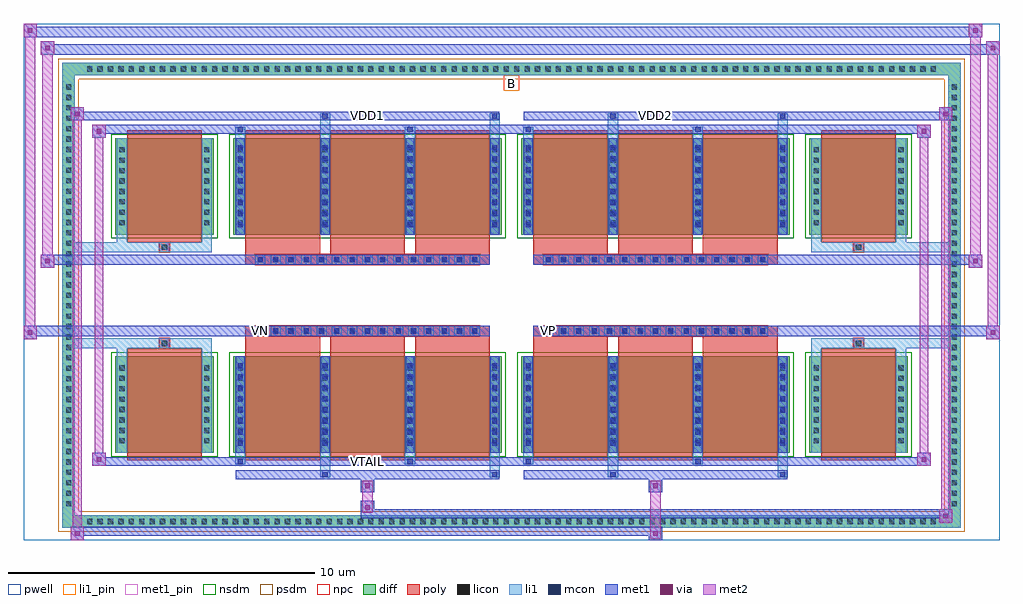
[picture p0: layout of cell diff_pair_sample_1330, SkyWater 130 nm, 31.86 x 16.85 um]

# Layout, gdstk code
import gdstk
lib = gdstk.Library(unit=1e-6, precision=5e-09)
def R(c, l, rs):  # rectangles x0, y0, x1, y1
    for r in rs: c.add(gdstk.rectangle(r[:2], r[2:], *l))
def A(c, l, x, y, w, h, nx, ny, dx, dy):  # array of equal rectangles
    R(c, l, [(x+i*dx, y+j*dy, x+i*dx+w, y+j*dy+h) for i in range(nx) for j in range(ny)])
def P(c, l, *ps):  # polygons
    for p in ps: c.add(gdstk.Polygon(p, *l))
pwell = (64, 44)
diff = (65, 20)
poly = (66, 20)
licon = (66, 44)
li1_pin = (67, 16)
li1 = (67, 20)
mcon = (67, 44)
met1_pin = (68, 16)
met1 = (68, 20)
via = (68, 44)
met2 = (69, 20)
nsdm = (93, 44)
psdm = (94, 20)
npc = (95, 20)

diff_pair_sample_1330 = lib.new_cell('diff_pair_sample_1330')
R(diff_pair_sample_1330, pwell, [(-15.93,-7.99,15.93,8.86), (-13.25,-6.18,-0.01,-0.8), (0.01,-6.18,13.25,-0.8), (-13.25,0.8,-0.01,6.18), (0.01,0.8,13.25,6.18)])
A(diff_pair_sample_1330, diff, -13.975, -7.59, 0.41, 0.41, 82, 2, 0.34, 14.77)
A(diff_pair_sample_1330, diff, -14.66, -7.005, 0.41, 0.41, 1, 41, 0, 0.34)
A(diff_pair_sample_1330, diff, 14.25, -7.005, 0.41, 0.41, 1, 41, 0, 0.34)
R(diff_pair_sample_1330, diff, [(-13.975,-7.59,13.975,-7.18), (-14.66,-7.005,-14.25,7.005), (14.25,-7.005,14.66,7.005), (-12.94,-5.135,-9.72,-1.985), (-9.08,-5.135,-0.32,-1.985), (0.32,-5.135,9.08,-1.985), (9.72,-5.135,12.94,-1.985), (-12.94,1.985,-9.72,5.135), (-9.08,1.985,-0.32,5.135), (0.32,1.985,9.08,5.135), (9.72,1.985,12.94,5.135), (-13.975,7.18,13.975,7.59)])
P(diff_pair_sample_1330, diff, [(14.66,7.59),(-14.66,7.59),(-14.66,-7.18),(-14.25,-7.18),(-14.25,7.18),(14.25,7.18),(14.25,-7.18),(-14.25,-7.18),(-14.66,-7.18),(-14.66,-7.59),(14.66,-7.59)])
A(diff_pair_sample_1330, poly, -8.69, -5.385, 2.44, 3.65, 3, 2, 2.77, 7.12)
A(diff_pair_sample_1330, poly, 0.71, -5.385, 2.44, 3.65, 3, 2, 2.77, 7.12)
A(diff_pair_sample_1330, poly, -8.69, -1.735, 2.44, 0.405, 3, 2, 2.77, 3.065)
A(diff_pair_sample_1330, poly, 0.71, -1.735, 2.44, 0.405, 3, 2, 2.77, 3.065)
A(diff_pair_sample_1330, poly, -8.365, -1.33, 0.33, 0.33, 15, 2, 0.5, 2.33)
A(diff_pair_sample_1330, poly, 1.035, -1.33, 0.33, 0.33, 15, 2, 0.5, 2.33)
R(diff_pair_sample_1330, poly, [(-12.55,-5.385,-10.11,-1.735), (10.11,-5.385,12.55,-1.735), (-11.495,-1.735,-11.165,-1.405), (-11.495,-1.735,-11.165,-1.405), (11.165,-1.735,11.495,-1.405), (11.165,-1.735,11.495,-1.405), (-8.69,-1.33,-0.71,-1), (0.71,-1.33,8.69,-1), (-8.69,1,-0.71,1.33), (0.71,1,8.69,1.33), (-11.495,1.405,-11.165,1.735), (-11.495,1.405,-11.165,1.735), (11.165,1.405,11.495,1.735), (11.165,1.405,11.495,1.735), (-12.55,1.735,-10.11,5.385), (10.11,1.735,12.55,5.385)])
A(diff_pair_sample_1330, licon, -13.855, -7.47, 0.17, 0.17, 82, 2, 0.34, 14.77)
A(diff_pair_sample_1330, licon, -14.54, -6.885, 0.17, 0.17, 1, 41, 0, 0.34)
A(diff_pair_sample_1330, licon, 14.37, -6.885, 0.17, 0.17, 1, 41, 0, 0.34)
A(diff_pair_sample_1330, licon, -12.8, -4.835, 0.17, 0.17, 1, 8, 0, 0.34)
A(diff_pair_sample_1330, licon, -10.03, -4.835, 0.17, 0.17, 1, 8, 0, 0.34)
A(diff_pair_sample_1330, licon, -8.94, -4.835, 0.17, 0.17, 4, 8, 2.77, 0.34)
A(diff_pair_sample_1330, licon, 0.46, -4.835, 0.17, 0.17, 4, 8, 2.77, 0.34)
A(diff_pair_sample_1330, licon, 9.86, -4.835, 0.17, 0.17, 1, 8, 0, 0.34)
A(diff_pair_sample_1330, licon, 12.63, -4.835, 0.17, 0.17, 1, 8, 0, 0.34)
A(diff_pair_sample_1330, licon, -8.285, -1.25, 0.17, 0.17, 15, 2, 0.5, 2.33)
A(diff_pair_sample_1330, licon, 1.115, -1.25, 0.17, 0.17, 15, 2, 0.5, 2.33)
A(diff_pair_sample_1330, licon, -12.8, 2.285, 0.17, 0.17, 1, 8, 0, 0.34)
A(diff_pair_sample_1330, licon, -10.03, 2.285, 0.17, 0.17, 1, 8, 0, 0.34)
A(diff_pair_sample_1330, licon, -8.94, 2.285, 0.17, 0.17, 4, 8, 2.77, 0.34)
A(diff_pair_sample_1330, licon, 0.46, 2.285, 0.17, 0.17, 4, 8, 2.77, 0.34)
A(diff_pair_sample_1330, licon, 9.86, 2.285, 0.17, 0.17, 1, 8, 0, 0.34)
A(diff_pair_sample_1330, licon, 12.63, 2.285, 0.17, 0.17, 1, 8, 0, 0.34)
R(diff_pair_sample_1330, licon, [(-11.415,-1.655,-11.245,-1.485), (11.245,-1.655,11.415,-1.485), (-11.415,1.485,-11.245,1.655), (11.245,1.485,11.415,1.655)])
R(diff_pair_sample_1330, li1_pin, [(-0.25,6.68,0.25,7.18)])
A(diff_pair_sample_1330, li1, -13.935, -7.55, 0.33, 0.33, 82, 2, 0.34, 14.77)
A(diff_pair_sample_1330, li1, -14.62, -6.965, 0.33, 0.33, 1, 41, 0, 0.34)
A(diff_pair_sample_1330, li1, 14.29, -6.965, 0.33, 0.33, 1, 41, 0, 0.34)
A(diff_pair_sample_1330, li1, -9.02, -5.135, 0.33, 3.15, 4, 2, 2.77, 7.12)
A(diff_pair_sample_1330, li1, 0.38, -5.135, 0.33, 3.15, 4, 2, 2.77, 7.12)
A(diff_pair_sample_1330, li1, -12.88, -4.915, 0.33, 0.33, 1, 8, 0, 0.34)
A(diff_pair_sample_1330, li1, -10.11, -4.915, 0.33, 0.33, 1, 8, 0, 0.34)
A(diff_pair_sample_1330, li1, -9.02, -4.915, 0.33, 0.33, 4, 8, 2.77, 0.34)
A(diff_pair_sample_1330, li1, 0.38, -4.915, 0.33, 0.33, 4, 8, 2.77, 0.34)
A(diff_pair_sample_1330, li1, 9.78, -4.915, 0.33, 0.33, 1, 8, 0, 0.34)
A(diff_pair_sample_1330, li1, 12.55, -4.915, 0.33, 0.33, 1, 8, 0, 0.34)
A(diff_pair_sample_1330, li1, -8.94, -4.905, 0.17, 0.17, 4, 8, 2.77, 0.36)
A(diff_pair_sample_1330, li1, -8.94, -4.905, 0.17, 2.69, 4, 2, 2.77, 7.12)
A(diff_pair_sample_1330, li1, 0.46, -4.905, 0.17, 0.17, 4, 8, 2.77, 0.36)
A(diff_pair_sample_1330, li1, 0.46, -4.905, 0.17, 2.69, 4, 2, 2.77, 7.12)
A(diff_pair_sample_1330, li1, -8.365, -1.33, 0.33, 0.33, 15, 2, 0.5, 2.33)
A(diff_pair_sample_1330, li1, 1.035, -1.33, 0.33, 0.33, 15, 2, 0.5, 2.33)
A(diff_pair_sample_1330, li1, -12.88, 2.205, 0.33, 0.33, 1, 8, 0, 0.34)
A(diff_pair_sample_1330, li1, -10.11, 2.205, 0.33, 0.33, 1, 8, 0, 0.34)
A(diff_pair_sample_1330, li1, -9.02, 2.205, 0.33, 0.33, 4, 8, 2.77, 0.34)
A(diff_pair_sample_1330, li1, 0.38, 2.205, 0.33, 0.33, 4, 8, 2.77, 0.34)
A(diff_pair_sample_1330, li1, 9.78, 2.205, 0.33, 0.33, 1, 8, 0, 0.34)
A(diff_pair_sample_1330, li1, 12.55, 2.205, 0.33, 0.33, 1, 8, 0, 0.34)
A(diff_pair_sample_1330, li1, -8.94, 2.215, 0.17, 0.17, 4, 8, 2.77, 0.36)
A(diff_pair_sample_1330, li1, 0.46, 2.215, 0.17, 0.17, 4, 8, 2.77, 0.36)
R(diff_pair_sample_1330, li1, [(-14.66,-7.59,-14.25,-7.18), (-14.66,-7.59,-14.25,-7.18), (-14.25,-7.59,14.25,-7.18), (14.25,-7.59,14.66,-7.18), (14.25,-7.59,14.66,-7.18), (-14.66,-7.18,-14.25,7.18), (14.25,-7.18,14.66,7.18), (-6.25,-5.94,-5.92,-5.135), (-6.17,-5.94,-6,-5.77), (-0.71,-5.94,-0.38,-5.135), (-0.63,-5.94,-0.46,-5.77), (3.15,-5.94,3.48,-5.135), (3.23,-5.94,3.4,-5.77), (8.69,-5.94,9.02,-5.135), (8.77,-5.94,8.94,-5.77), (-9.02,-5.51,-8.69,-5.135), (-8.94,-5.51,-8.77,-5.34), (-3.48,-5.51,-3.15,-5.135), (-3.4,-5.51,-3.23,-5.34), (0.38,-5.51,0.71,-5.135), (0.46,-5.51,0.63,-5.34), (5.92,-5.51,6.25,-5.135), (6,-5.51,6.17,-5.34), (-12.88,-5.135,-12.55,-1.985), (-10.11,-5.135,-9.78,-1.985), (9.78,-5.135,10.11,-1.985), (12.55,-5.135,12.88,-1.985), (-12.88,-1.985,-12.55,-1.405), (-10.11,-1.985,-9.78,-1.405), (9.78,-1.985,10.11,-1.405), (12.55,-1.985,12.88,-1.405), (-14.66,-1.735,-11.495,-1.405), (-12.88,-1.735,-11.495,-1.405), (-11.495,-1.735,-11.165,-1.405), (-11.165,-1.735,-9.78,-1.405), (9.78,-1.735,11.165,-1.405), (11.165,-1.735,11.495,-1.405), (11.165,-1.735,14.66,-1.405), (11.495,-1.735,12.88,-1.405), (-14.66,1.405,-11.495,1.735), (-12.88,1.405,-11.495,1.735), (-12.88,1.405,-12.55,1.985), (-11.495,1.405,-11.165,1.735), (-11.165,1.405,-9.78,1.735), (-10.11,1.405,-9.78,1.985), (9.78,1.405,11.165,1.735), (9.78,1.405,10.11,1.985), (11.165,1.405,11.495,1.735), (11.165,1.405,14.66,1.735), (11.495,1.405,12.88,1.735), (12.55,1.405,12.88,1.985), (-12.88,1.985,-12.55,5.135), (-10.11,1.985,-9.78,5.135), (9.78,1.985,10.11,5.135), (12.55,1.985,12.88,5.135), (-9.02,5.135,-8.69,5.51), (-6.25,5.135,-5.92,5.94), (-3.48,5.135,-3.15,5.51), (-0.71,5.135,-0.38,5.94), (0.38,5.135,0.71,5.51), (3.15,5.135,3.48,5.94), (5.92,5.135,6.25,5.51), (8.69,5.135,9.02,5.94), (-8.94,5.34,-8.77,5.51), (-3.4,5.34,-3.23,5.51), (0.46,5.34,0.63,5.51), (6,5.34,6.17,5.51), (-6.17,5.77,-6,5.94), (-0.63,5.77,-0.46,5.94), (3.23,5.77,3.4,5.94), (8.77,5.77,8.94,5.94), (-14.66,7.18,-14.25,7.59), (-14.66,7.18,-14.25,7.59), (-14.25,7.18,14.25,7.59), (14.25,7.18,14.66,7.59), (14.25,7.18,14.66,7.59)])
A(diff_pair_sample_1330, mcon, -8.94, -4.905, 0.17, 0.17, 4, 8, 2.77, 0.36)
A(diff_pair_sample_1330, mcon, 0.46, -4.905, 0.17, 0.17, 4, 8, 2.77, 0.36)
A(diff_pair_sample_1330, mcon, -8.285, -1.25, 0.17, 0.17, 15, 2, 0.5, 2.33)
A(diff_pair_sample_1330, mcon, 1.115, -1.25, 0.17, 0.17, 15, 2, 0.5, 2.33)
A(diff_pair_sample_1330, mcon, -8.94, 2.215, 0.17, 0.17, 4, 8, 2.77, 0.36)
A(diff_pair_sample_1330, mcon, 0.46, 2.215, 0.17, 0.17, 4, 8, 2.77, 0.36)
R(diff_pair_sample_1330, mcon, [(-6.17,-5.94,-6,-5.77), (-0.63,-5.94,-0.46,-5.77), (3.23,-5.94,3.4,-5.77), (8.77,-5.94,8.94,-5.77), (-8.94,-5.51,-8.77,-5.34), (-3.4,-5.51,-3.23,-5.34), (0.46,-5.51,0.63,-5.34), (6,-5.51,6.17,-5.34), (-8.94,5.34,-8.77,5.51), (-3.4,5.34,-3.23,5.51), (0.46,5.34,0.63,5.51), (6,5.34,6.17,5.51), (-6.17,5.77,-6,5.94), (-0.63,5.77,-0.46,5.94), (3.23,5.77,3.4,5.94), (8.77,5.77,8.94,5.94)])
R(diff_pair_sample_1330, met1_pin, [(-4.835,-5.55,-4.565,-5.28), (-8.335,-1.29,-8.065,-1.02), (1.065,-1.29,1.335,-1.02), (-4.835,5.73,-4.565,6), (4.565,5.73,4.835,6)])
A(diff_pair_sample_1330, met1, -9, -5.135, 0.29, 3.15, 4, 2, 2.77, 7.12)
A(diff_pair_sample_1330, met1, 0.4, -5.135, 0.29, 3.15, 4, 2, 2.77, 7.12)
A(diff_pair_sample_1330, met1, -9, -4.965, 0.29, 0.29, 4, 8, 2.77, 0.36)
A(diff_pair_sample_1330, met1, 0.4, -4.965, 0.29, 0.29, 4, 8, 2.77, 0.36)
A(diff_pair_sample_1330, met1, -8.345, -1.31, 0.29, 0.29, 15, 2, 0.5, 2.33)
A(diff_pair_sample_1330, met1, 1.055, -1.31, 0.29, 0.29, 15, 2, 0.5, 2.33)
A(diff_pair_sample_1330, met1, -9, 2.155, 0.29, 0.29, 4, 8, 2.77, 0.36)
A(diff_pair_sample_1330, met1, 0.4, 2.155, 0.29, 0.29, 4, 8, 2.77, 0.36)
R(diff_pair_sample_1330, met1, [(-14.39,-7.99,-13.96,-7.56), (4.485,-7.99,4.915,-7.56), (-14.39,-7.85,4.915,-7.56), (13.96,-7.42,14.39,-6.99), (-4.915,-7.28,14.39,-6.99), (-4.915,-7.14,-4.485,-6.71), (-4.915,-6.43,-4.485,-6), (4.485,-6.43,4.915,-6), (-9,-6,-0.4,-5.71), (-6.23,-6,-5.94,-5.71), (-0.69,-6,-0.4,-5.71), (0.4,-6,9,-5.71), (3.17,-6,3.46,-5.71), (8.71,-6,9,-5.71), (-13.68,-5.57,-13.25,-5.14), (-13.68,-5.57,-9,-5.28), (-9,-5.57,-8.71,-5.28), (-9,-5.57,-0.4,-5.28), (-3.46,-5.57,-3.17,-5.28), (-0.4,-5.57,0.4,-5.28), (0.4,-5.57,0.69,-5.28), (0.4,-5.57,9,-5.28), (5.94,-5.57,6.23,-5.28), (9,-5.57,13.68,-5.28), (13.25,-5.57,13.68,-5.14), (-15.93,-1.43,-15.5,-1), (15.5,-1.43,15.93,-1), (-15.93,-1.33,-0.71,-1), (-8.69,-1.33,-0.71,-1), (0.71,-1.33,8.69,-1), (0.71,-1.33,15.93,-1), (-15.36,0.9,-14.93,1.33), (14.93,0.9,15.36,1.33), (-15.36,1,-8.69,1.33), (-8.69,1,-0.71,1.33), (0.71,1,8.69,1.33), (8.69,1,15.36,1.33), (-13.68,5.14,-13.25,5.57), (13.25,5.14,13.68,5.57), (-13.68,5.28,-9,5.57), (-9,5.28,-8.71,5.57), (-9,5.28,-0.4,5.57), (-3.46,5.28,-3.17,5.57), (-0.4,5.28,0.4,5.57), (0.4,5.28,0.69,5.57), (0.4,5.28,9,5.57), (5.94,5.28,6.23,5.57), (9,5.28,13.68,5.57), (-14.39,5.71,-13.96,6.14), (-14.39,5.71,-9,6), (-9,5.71,-0.4,6), (-6.23,5.71,-5.94,6), (-0.69,5.71,-0.4,6), (0.4,5.71,9,6), (3.17,5.71,3.46,6), (8.71,5.71,9,6), (9,5.71,14.39,6), (13.96,5.71,14.39,6.14), (-15.36,7.86,-14.93,8.29), (-15.36,7.86,-13.25,8.19), (-13.25,7.86,13.25,8.19), (13.25,7.86,15.93,8.19), (15.5,7.86,15.93,8.29), (-15.93,8.43,-15.5,8.86), (-15.93,8.43,-13.25,8.76), (-13.25,8.43,13.25,8.76), (13.25,8.43,15.36,8.76), (14.93,8.43,15.36,8.86)])
R(diff_pair_sample_1330, via, [(-14.25,-7.85,-14.1,-7.7), (4.625,-7.85,4.775,-7.7), (14.1,-7.28,14.25,-7.13), (-4.775,-7,-4.625,-6.85), (-4.775,-6.29,-4.625,-6.14), (4.625,-6.29,4.775,-6.14), (-13.54,-5.43,-13.39,-5.28), (13.39,-5.43,13.54,-5.28), (-15.79,-1.29,-15.64,-1.14), (15.64,-1.29,15.79,-1.14), (-15.22,1.04,-15.07,1.19), (15.07,1.04,15.22,1.19), (-13.54,5.28,-13.39,5.43), (13.39,5.28,13.54,5.43), (-14.25,5.85,-14.1,6), (14.1,5.85,14.25,6), (-15.22,8,-15.07,8.15), (15.64,8,15.79,8.15), (-15.79,8.57,-15.64,8.72), (15.07,8.57,15.22,8.72)])
R(diff_pair_sample_1330, met2, [(-14.39,-7.99,-13.96,-7.56), (-14.32,-7.99,-14.03,6.14), (-14.03,-7.99,-13.96,-7.56), (-14.34,-7.94,-14.01,-7.61), (4.535,-7.94,4.865,-7.61), (4.535,-7.61,4.865,-6.38), (13.96,-7.42,14.39,-6.99), (14.03,-7.42,14.32,6.14), (14.32,-7.42,14.39,-6.99), (14.01,-7.37,14.34,-7.04), (-4.865,-7.09,-4.535,-6.76), (-4.865,-6.76,-4.535,-6.38), (-4.865,-6.38,-4.535,-6.05), (4.535,-6.38,4.865,-6.05), (-13.68,-5.57,-13.25,-5.14), (-13.61,-5.57,-13.32,5.57), (-13.32,-5.57,-13.25,-5.14), (13.25,-5.57,13.68,-5.14), (13.32,-5.57,13.61,5.57), (13.61,-5.57,13.68,-5.14), (-13.63,-5.52,-13.3,-5.19), (13.3,-5.52,13.63,-5.19), (-15.93,-1.43,-15.5,-1), (-15.88,-1.43,-15.55,8.86), (-15.55,-1.43,-15.5,-1), (15.5,-1.43,15.93,-1), (15.55,-1.43,15.88,8.29), (15.88,-1.43,15.93,-1), (-15.88,-1.38,-15.55,-1.05), (15.55,-1.38,15.88,-1.05), (-15.36,0.9,-14.93,1.33), (-15.31,0.9,-14.98,8.29), (-14.98,0.9,-14.93,1.33), (14.93,0.9,15.36,1.33), (14.98,0.9,15.31,8.86), (15.31,0.9,15.36,1.33), (-15.31,0.95,-14.98,1.28), (14.98,0.95,15.31,1.28), (-13.68,5.14,-13.25,5.57), (-13.32,5.14,-13.25,5.57), (13.25,5.14,13.68,5.57), (13.61,5.14,13.68,5.57), (-13.63,5.19,-13.3,5.52), (13.3,5.19,13.63,5.52), (-14.39,5.71,-13.96,6.14), (-14.03,5.71,-13.96,6.14), (13.96,5.71,14.39,6.14), (14.32,5.71,14.39,6.14), (-14.34,5.76,-14.01,6.09), (14.01,5.76,14.34,6.09), (-15.36,7.86,-14.93,8.29), (-14.98,7.86,-14.93,8.29), (15.5,7.86,15.93,8.29), (15.88,7.86,15.93,8.29), (-15.31,7.91,-14.98,8.24), (15.55,7.91,15.88,8.24), (-15.93,8.43,-15.5,8.86), (-15.55,8.43,-15.5,8.86), (14.93,8.43,15.36,8.86), (15.31,8.43,15.36,8.86), (-15.88,8.48,-15.55,8.81), (14.98,8.48,15.31,8.81)])
R(diff_pair_sample_1330, nsdm, [(-13.07,-5.265,-9.59,-1.855), (-9.21,-5.265,-0.19,-1.855), (0.19,-5.265,9.21,-1.855), (9.59,-5.265,13.07,-1.855), (-13.07,1.855,-9.59,5.265), (-9.21,1.855,-0.19,5.265), (0.19,1.855,9.21,5.265), (9.59,1.855,13.07,5.265)])
P(diff_pair_sample_1330, psdm, [(14.79,7.72),(-14.79,7.72),(-14.79,-7.05),(-14.12,-7.05),(-14.12,7.05),(14.12,7.05),(14.12,-7.05),(-14.12,-7.05),(-14.79,-7.05),(-14.79,-7.72),(14.79,-7.72)])
A(diff_pair_sample_1330, npc, -8.385, -1.35, 0.37, 0.37, 15, 2, 0.5, 2.33)
A(diff_pair_sample_1330, npc, 1.015, -1.35, 0.37, 0.37, 15, 2, 0.5, 2.33)
R(diff_pair_sample_1330, npc, [(-11.515,-1.755,-11.145,-1.385), (11.145,-1.755,11.515,-1.385), (-8.385,-1.35,-7.515,-0.98), (-8.385,-1.35,-7.515,-0.98), (-7.885,-1.35,-7.015,-0.98), (-7.885,-1.35,-7.015,-0.98), (-7.385,-1.35,-6.515,-0.98), (-7.385,-1.35,-6.515,-0.98), (-6.885,-1.35,-6.015,-0.98), (-6.885,-1.35,-6.015,-0.98), (-6.385,-1.35,-5.515,-0.98), (-6.385,-1.35,-5.515,-0.98), (-5.885,-1.35,-5.015,-0.98), (-5.885,-1.35,-5.015,-0.98), (-5.385,-1.35,-4.515,-0.98), (-5.385,-1.35,-4.515,-0.98), (-4.885,-1.35,-4.015,-0.98), (-4.885,-1.35,-4.015,-0.98), (-4.385,-1.35,-3.515,-0.98), (-4.385,-1.35,-3.515,-0.98), (-3.885,-1.35,-3.015,-0.98), (-3.885,-1.35,-3.015,-0.98), (-3.385,-1.35,-2.515,-0.98), (-3.385,-1.35,-2.515,-0.98), (-2.885,-1.35,-2.015,-0.98), (-2.885,-1.35,-2.015,-0.98), (-2.385,-1.35,-1.515,-0.98), (-2.385,-1.35,-1.515,-0.98), (-1.885,-1.35,-1.015,-0.98), (-1.885,-1.35,-1.015,-0.98), (1.015,-1.35,1.885,-0.98), (1.015,-1.35,1.885,-0.98), (1.515,-1.35,2.385,-0.98), (1.515,-1.35,2.385,-0.98), (2.015,-1.35,2.885,-0.98), (2.015,-1.35,2.885,-0.98), (2.515,-1.35,3.385,-0.98), (2.515,-1.35,3.385,-0.98), (3.015,-1.35,3.885,-0.98), (3.015,-1.35,3.885,-0.98), (3.515,-1.35,4.385,-0.98), (3.515,-1.35,4.385,-0.98), (4.015,-1.35,4.885,-0.98), (4.015,-1.35,4.885,-0.98), (4.515,-1.35,5.385,-0.98), (4.515,-1.35,5.385,-0.98), (5.015,-1.35,5.885,-0.98), (5.015,-1.35,5.885,-0.98), (5.515,-1.35,6.385,-0.98), (5.515,-1.35,6.385,-0.98), (6.015,-1.35,6.885,-0.98), (6.015,-1.35,6.885,-0.98), (6.515,-1.35,7.385,-0.98), (6.515,-1.35,7.385,-0.98), (7.015,-1.35,7.885,-0.98), (7.015,-1.35,7.885,-0.98), (7.515,-1.35,8.385,-0.98), (7.515,-1.35,8.385,-0.98), (-8.385,0.98,-7.515,1.35), (-8.385,0.98,-7.515,1.35), (-7.885,0.98,-7.015,1.35), (-7.885,0.98,-7.015,1.35), (-7.385,0.98,-6.515,1.35), (-7.385,0.98,-6.515,1.35), (-6.885,0.98,-6.015,1.35), (-6.885,0.98,-6.015,1.35), (-6.385,0.98,-5.515,1.35), (-6.385,0.98,-5.515,1.35), (-5.885,0.98,-5.015,1.35), (-5.885,0.98,-5.015,1.35), (-5.385,0.98,-4.515,1.35), (-5.385,0.98,-4.515,1.35), (-4.885,0.98,-4.015,1.35), (-4.885,0.98,-4.015,1.35), (-4.385,0.98,-3.515,1.35), (-4.385,0.98,-3.515,1.35), (-3.885,0.98,-3.015,1.35), (-3.885,0.98,-3.015,1.35), (-3.385,0.98,-2.515,1.35), (-3.385,0.98,-2.515,1.35), (-2.885,0.98,-2.015,1.35), (-2.885,0.98,-2.015,1.35), (-2.385,0.98,-1.515,1.35), (-2.385,0.98,-1.515,1.35), (-1.885,0.98,-1.015,1.35), (-1.885,0.98,-1.015,1.35), (1.015,0.98,1.885,1.35), (1.015,0.98,1.885,1.35), (1.515,0.98,2.385,1.35), (1.515,0.98,2.385,1.35), (2.015,0.98,2.885,1.35), (2.015,0.98,2.885,1.35), (2.515,0.98,3.385,1.35), (2.515,0.98,3.385,1.35), (3.015,0.98,3.885,1.35), (3.015,0.98,3.885,1.35), (3.515,0.98,4.385,1.35), (3.515,0.98,4.385,1.35), (4.015,0.98,4.885,1.35), (4.015,0.98,4.885,1.35), (4.515,0.98,5.385,1.35), (4.515,0.98,5.385,1.35), (5.015,0.98,5.885,1.35), (5.015,0.98,5.885,1.35), (5.515,0.98,6.385,1.35), (5.515,0.98,6.385,1.35), (6.015,0.98,6.885,1.35), (6.015,0.98,6.885,1.35), (6.515,0.98,7.385,1.35), (6.515,0.98,7.385,1.35), (7.015,0.98,7.885,1.35), (7.015,0.98,7.885,1.35), (7.515,0.98,8.385,1.35), (7.515,0.98,8.385,1.35), (-11.515,1.385,-11.145,1.755), (11.145,1.385,11.515,1.755)])
diff_pair_sample_1330.add(gdstk.Label('VTAIL', (-4.7,-5.415), layer=68, texttype=5))
diff_pair_sample_1330.add(gdstk.Label('VN', (-8.2,-1.155), layer=68, texttype=5))
diff_pair_sample_1330.add(gdstk.Label('VP', (1.2,-1.155), layer=68, texttype=5))
diff_pair_sample_1330.add(gdstk.Label('B', (0,6.93), layer=67, texttype=5))
diff_pair_sample_1330.add(gdstk.Label('VDD2', (4.7,5.865), layer=68, texttype=5))
diff_pair_sample_1330.add(gdstk.Label('VDD1', (-4.7,5.865), layer=68, texttype=5))

lib.write_gds('diff_pair_sample_1330.gds')
